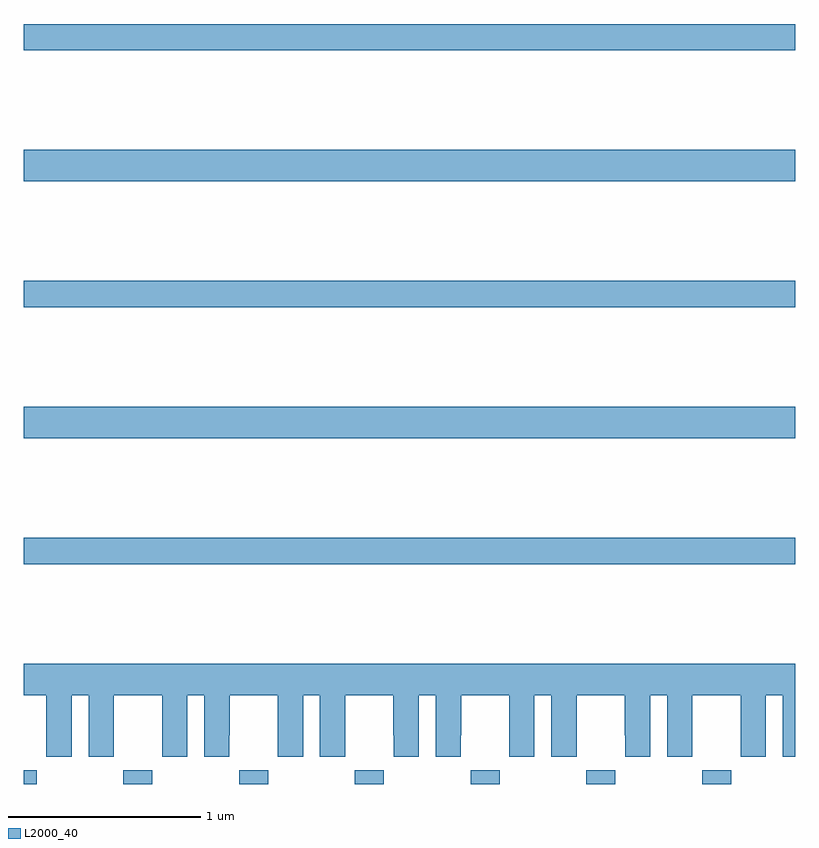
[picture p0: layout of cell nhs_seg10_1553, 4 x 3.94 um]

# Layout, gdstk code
import gdstk
lib = gdstk.Library(unit=1e-6, precision=1e-09)
def R(c, l, rs):  # rectangles x0, y0, x1, y1
    for r in rs: c.add(gdstk.rectangle(r[:2], r[2:], *l))
def A(c, l, x, y, w, h, nx, ny, dx, dy):  # array of equal rectangles
    R(c, l, [(x+i*dx, y+j*dy, x+i*dx+w, y+j*dy+h) for i in range(nx) for j in range(ny)])
def P(c, l, *ps):  # polygons
    for p in ps: c.add(gdstk.Polygon(p, *l))
L2000_40 = (2000, 40)

nhs_seg10_1553 = lib.new_cell('nhs_seg10_1553')
A(nhs_seg10_1553, L2000_40, 191.517, 1322.5, 0.15, 0.072, 6, 1, 0.6, 0)
A(nhs_seg10_1553, L2000_40, 191, 1323.64, 4, 0.136, 1, 3, 0, 1.332)
R(nhs_seg10_1553, L2000_40, [(191,1322.5,191.067,1322.572), (191,1324.292,195,1324.456), (191,1325.624,195,1325.788)])
P(nhs_seg10_1553, L2000_40, [(191,1322.96),(191.117,1322.96),(191.117,1322.752),(191.118,1322.752),(191.118,1322.64),(191.248,1322.64),(191.248,1322.96),(191.336,1322.96),(191.336,1322.64),(191.466,1322.64),(191.466,1322.752),(191.467,1322.752),(191.467,1322.96),(191.717,1322.96),(191.717,1322.752),(191.718,1322.752),(191.718,1322.64),(191.848,1322.64),(191.848,1322.96),(191.936,1322.96),(191.936,1322.64),(192.066,1322.64),(192.066,1322.752),(192.067,1322.752),(192.067,1322.96),(192.317,1322.96),(192.317,1322.752),(192.318,1322.752),(192.318,1322.64),(192.448,1322.64),(192.448,1322.96),(192.536,1322.96),(192.536,1322.64),(192.666,1322.64),(192.666,1322.752),(192.667,1322.752),(192.667,1322.96),(192.917,1322.96),(192.917,1322.752),(192.918,1322.752),(192.918,1322.64),(193.048,1322.64),(193.048,1322.96),(193.136,1322.96),(193.136,1322.64),(193.266,1322.64),(193.266,1322.752),(193.267,1322.752),(193.267,1322.96),(193.517,1322.96),(193.517,1322.752),(193.518,1322.752),(193.518,1322.64),(193.648,1322.64),(193.648,1322.96),(193.736,1322.96),(193.736,1322.64),(193.866,1322.64),(193.866,1322.752),(193.867,1322.752),(193.867,1322.96),(194.117,1322.96),(194.117,1322.752),(194.118,1322.752),(194.118,1322.64),(194.248,1322.64),(194.248,1322.96),(194.336,1322.96),(194.336,1322.64),(194.466,1322.64),(194.466,1322.752),(194.467,1322.752),(194.467,1322.96),(194.717,1322.96),(194.717,1322.752),(194.718,1322.752),(194.718,1322.64),(194.848,1322.64),(194.848,1322.96),(194.936,1322.96),(194.936,1322.64),(195,1322.64),(195,1323.124),(191,1323.124)])

lib.write_gds('nhs_seg10_1553.gds')
